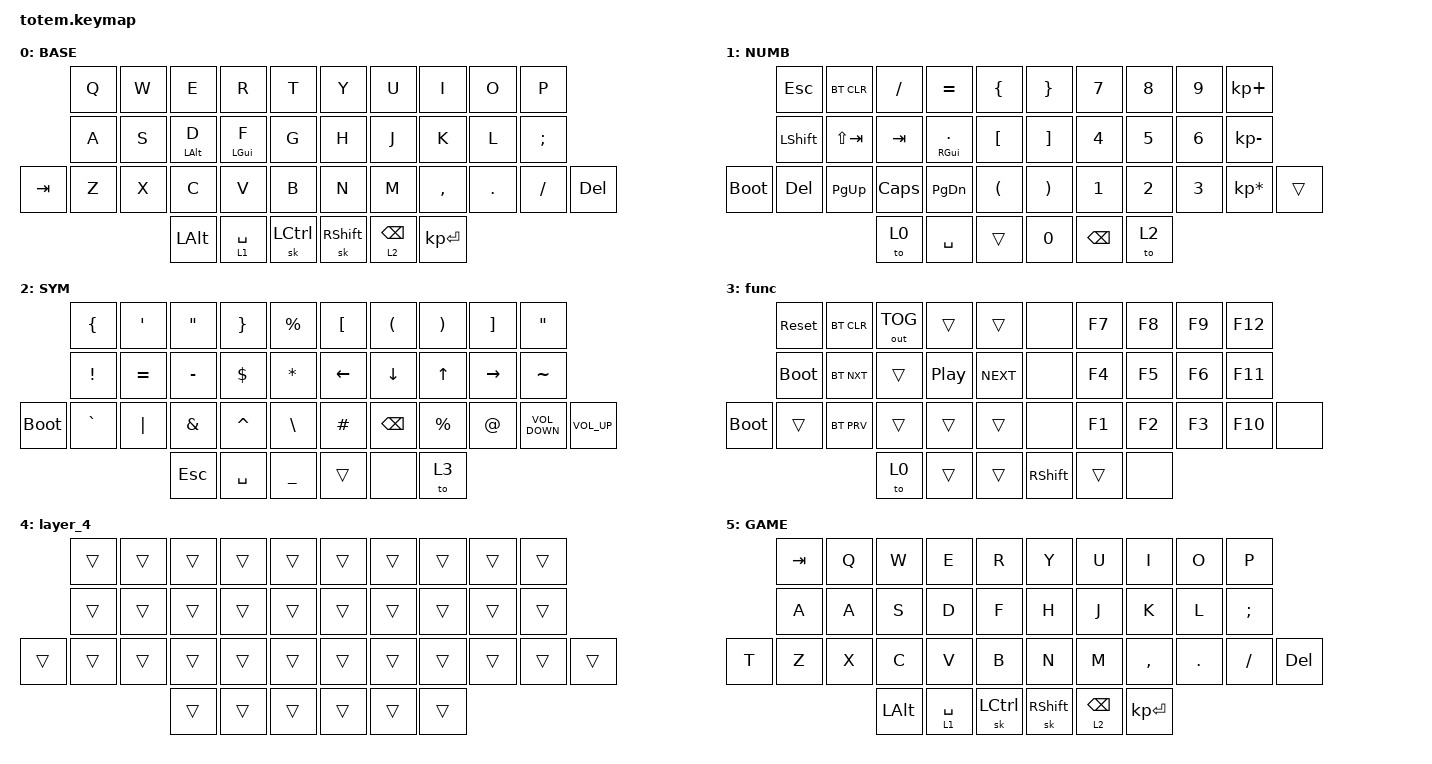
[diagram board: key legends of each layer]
//
//                                                        ▀▀▀▀▀     ▀▀▀▀▀          ▀▀█▀▀
//                                                        ▄▀▀▀▄  ▄  ▄▀▀▀▄  ▄  ▄▀▀▀▄  █  ▄▀▀▀▄
//                                                        █   █  █  █   █  █  █   █  █  █   █
//                                                         ▀▀▀   █   ▀▀▀   █   ▀▀▀   ▀   ▀▀▀
//                                                               █      ▄▄▄█▄▄▄    █   █  
//                                                               ▀      █  █  █     █▄█
//                                                             ▀▀▀▀▀    █  █  █      ▀
//                                                                      ▀  ▀  ▀
//
// ▄▄▄▄▄▄▄▄▄▄▄▄▄▄▄▄▄▄▄▄▄▄▄▄▄▄▄▄▄▄▄▄▄▄▄▄▄▄▄▄▄▄▄▄▄▄▄▄▄▄▄▄▄▄▄▄▄▄▄▄▄▄▄▄▄▄▄▄▄▄▄▄▄▄▄▄▄▄▄▄▄▄▄▄▄▄▄▄▄▄▄▄▄▄▄▄▄▄▄▄▄▄▄▄▄▄▄▄▄▄▄▄▄▄▄▄▄▄▄▄▄▄▄▄▄▄▄▄▄▄▄▄▄▄▄▄▄▄▄▄▄▄▄▄▄▄▄▄▄

#include <behaviors.dtsi>
#include <dt-bindings/zmk/bt.h>
#include <dt-bindings/zmk/keys.h>
#include <dt-bindings/zmk/outputs.h>

#define BASE 0
#define NAV  1
#define SYM  2
#define ADJ  3
#define TVP1 4
#define TVP2 5

&mt {
    quick-tap-ms = <100>;
    global-quick-tap;
    flavor = "tap-preferred";
    tapping-term-ms = <170>;
};

/ {
    combos {
        compatible = "zmk,combos";

        combo_end {
            timeout-ms = <50>;
            key-positions = <18 17>;
            bindings = <&kp ENTER>;
            layers = <0>;
        };

        combo_esc {
            timeout-ms = <100>;
            key-positions = <13 12>;
            bindings = <&kp ESCAPE>;
        };

        combo_tab {
            bindings = <&kp TAB>;
            key-positions = <12 11>;
        };

        combo_f5 {
            bindings = <&kp F5>;
            key-positions = <3 4>;
        };

        combo_f4 {
            bindings = <&kp F4>;
            key-positions = <5 6>;
        };

        combo_f11 {
            bindings = <&kp F11>;
            key-positions = <9 8>;
        };

        combo_f2 {
            bindings = <&kp F2>;
            key-positions = <0 1>;
        };

        combo_home {
            bindings = <&kp C_AC_HOME>;
            key-positions = <16 17>;
        };
    };

    macros {
        gif: gif {
            label = "giphy";
            compatible = "zmk,behavior-macro";
            #binding-cells = <0>;
            bindings =
                <&macro_press>,
                <&kp LSHFT>,
                <&macro_tap>,
                <&kp N2>,
                <&macro_release>,
                <&kp LSHFT>,
                <&macro_tap>,
                <&kp G &kp I &kp F>;
        };
    };

    keymap {
        compatible = "zmk,keymap";

        // ▄▄▄▄▄▄▄▄▄▄▄▄▄▄▄▄▄▄▄▄▄▄▄▄▄▄▄▄▄▄▄▄▄▄▄▄▄▄▄▄▄▄▄▄▄▄▄▄▄▄▄▄▄▄▄▄▄▄▄▄▄▄▄▄▄▄▄▄▄▄▄▄▄▄▄▄▄▄▄▄▄▄▄▄▄▄▄▄▄▄▄▄▄▄▄▄▄▄▄▄▄▄▄▄▄▄▄▄▄▄▄▄▄▄▄▄▄▄▄▄▄▄▄▄▄▄▄▄▄▄▄▄▄▄▄▄▄▄▄▄▄▄▄▄▄▄▄▄▄

        base_layer {
            // ┏━━━━━━━━━━━━━━━━━━━━━━━━━━━━━━━━━━━━━━━┓

            label = "BASE";

            // ┗━━━━━━━━━━━━━━━━━━━━━━━━━━━━━━━━━━━━━━━┛
            //             ┏━━━━━━━━━━━┳━━━━━━━━━━━┳━━━━━━━━━━━┳━━━━━━━━━━━┳━━━━━━━━━━━┓   ┏━━━━━━━━━━━┳━━━━━━━━━━━┳━━━━━━━━━━━┳━━━━━━━━━━━┳━━━━━━━━━━━┓
            //             ┃     Q     ┃     W     ┃     F     ┃     P     ┃     G     ┃   ┃     J     ┃     L     ┃     U     ┃     Y     ┃     ;     ┃
            //             ┣━━━━━━━━━━━╋━━━━━━━━━━━╋━━━━━━━━━━━╋━━━━━━━━━━━╋━━━━━━━━━━━┫   ┣━━━━━━━━━━━╋━━━━━━━━━━━╋━━━━━━━━━━━╋━━━━━━━━━━━╋━━━━━━━━━━━┫
            //             ┃     A     ┃     R     ┃     S     ┃     T     ┃     D     ┃   ┃     H     ┃     N     ┃     E     ┃     I     ┃     O     ┃
            // ┏━━━━━━━━━━━╋━━━━━━━━━━━╋━━━━━━━━━━━╋━━━━━━━━━━━╋━━━━━━━━━━━╋━━━━━━━━━━━┫   ┣━━━━━━━━━━━╋━━━━━━━━━━━╋━━━━━━━━━━━╋━━━━━━━━━━━╋━━━━━━━━━━━╋━━━━━━━━━━━┓
            // ┃     Q     ┃     Z     ┃     X     ┃     C     ┃     V     ┃     B     ┃   ┃     K     ┃     M     ┃     ,     ┃     .     ┃     /     ┃     \     ┃
            // ┗━━━━━━━━━━━┻━━━━━━━━━━━┻━━━━━━━━━━━╋━━━━━━━━━━━╋━━━━━━━━━━━╋━━━━━━━━━━━┫   ┣━━━━━━━━━━━╋━━━━━━━━━━━╋━━━━━━━━━━━╋━━━━━━━━━━━┻━━━━━━━━━━━┻━━━━━━━━━━━┛
            //                                     ┃    DEL    ┃    TAB    ┃    SPC    ┃   ┃   ENTER   ┃           ┃   BSPC    ┃
            //                                     ┗━━━━━━━━━━━┻━━━━━━━━━━━┻━━━━━━━━━━━┛   ┗━━━━━━━━━━━┻━━━━━━━━━━━┻━━━━━━━━━━━┛

            bindings = <
         &kp Q  &kp W  &kp E           &kp R        &kp T        &kp Y            &kp U            &kp I         &kp O    &kp P
         &kp A  &kp S  &mt LEFT_ALT D  &mt LGUI F   &kp G        &kp H            &kp J            &kp K         &kp L    &kp SEMICOLON
&kp TAB  &kp Z  &kp X  &kp C           &kp V        &kp B        &kp N            &kp M            &kp COMMA     &kp DOT  &kp FSLH       &kp DELETE
                       &kp LALT        &lt 1 SPACE  &sk LCTRL    &sk RIGHT_SHIFT  &lt 2 BACKSPACE  &kp KP_ENTER
            >;
        };

        // ▄▄▄▄▄▄▄▄▄▄▄▄▄▄▄▄▄▄▄▄▄▄▄▄▄▄▄▄▄▄▄▄▄▄▄▄▄▄▄▄▄▄▄▄▄▄▄▄▄▄▄▄▄▄▄▄▄▄▄▄▄▄▄▄▄▄▄▄▄▄▄▄▄▄▄▄▄▄▄▄▄▄▄▄▄▄▄▄▄▄▄▄▄▄▄▄▄▄▄▄▄▄▄▄▄▄▄▄▄▄▄▄▄▄▄▄▄▄▄▄▄▄▄▄▄▄▄▄▄▄▄▄▄▄▄▄▄▄▄▄▄▄▄▄▄▄▄▄▄

        num_layer {
            // ┏━━━━━━━━━━━━━━━━━━━━━━━━━━━━━━━━━━━━━━━┓

            label = "NUMB";

            // ┗━━━━━━━━━━━━━━━━━━━━━━━━━━━━━━━━━━━━━━━┛
            //             ┏━━━━━━━━━━━┳━━━━━━━━━━━┳━━━━━━━━━━━┳━━━━━━━━━━━┳━━━━━━━━━━━┓   ┏━━━━━━━━━━━┳━━━━━━━━━━━┳━━━━━━━━━━━┳━━━━━━━━━━━┳━━━━━━━━━━━┓
            //             ┃           ┃           ┃     UP    ┃           ┃     {     ┃   ┃     }     ┃     7     ┃     8     ┃     9     ┃     +     ┃
            //             ┣━━━━━━━━━━━╋━━━━━━━━━━━╋━━━━━━━━━━━╋━━━━━━━━━━━╋━━━━━━━━━━━┫   ┣━━━━━━━━━━━╋━━━━━━━━━━━╋━━━━━━━━━━━╋━━━━━━━━━━━╋━━━━━━━━━━━┫
            //             ┃   SHIFT   ┃   LEFT    ┃    DOWN   ┃   RIGHT   ┃     [     ┃   ┃     ]     ┃     4     ┃     5     ┃     6     ┃     -     ┃
            // ┏━━━━━━━━━━━╋━━━━━━━━━━━╋━━━━━━━━━━━╋━━━━━━━━━━━╋━━━━━━━━━━━╋━━━━━━━━━━━┫   ┣━━━━━━━━━━━╋━━━━━━━━━━━╋━━━━━━━━━━━╋━━━━━━━━━━━╋━━━━━━━━━━━╋━━━━━━━━━━━┓
            // ┃           ┃           ┃   P UP    ┃  C LOCK   ┃  P DOWN   ┃     (     ┃   ┃     )     ┃     1     ┃     2     ┃     3     ┃     *     ┃           ┃
            // ┗━━━━━━━━━━━┻━━━━━━━━━━━┻━━━━━━━━━━━╋━━━━━━━━━━━╋━━━━━━━━━━━╋━━━━━━━━━━━┫   ┣━━━━━━━━━━━╋━━━━━━━━━━━╋━━━━━━━━━━━╋━━━━━━━━━━━┻━━━━━━━━━━━┻━━━━━━━━━━━┛
            //                                     ┃           ┃    TAB    ┃    SPC    ┃   ┃    DEL    ┃     0     ┃           ┃
            //                                     ┗━━━━━━━━━━━┻━━━━━━━━━━━┻━━━━━━━━━━━┛   ┗━━━━━━━━━━━┻━━━━━━━━━━━┻━━━━━━━━━━━┛

            bindings = <
             &kp ESC    &bt BT_CLR   &kp SLASH  &kp EQUAL             &kp LBRC    &kp RBRC  &kp N7         &kp N8        &kp N9        &kp KP_PLUS
             &kp LSHFT  &kp LS(TAB)  &kp TAB    &mt RIGHT_GUI PERIOD  &kp LBKT    &kp RBKT  &kp NUMBER_4   &kp N5        &kp NUMBER_6  &kp KP_MINUS
&bootloader  &kp DEL    &kp PG_UP    &kp CAPS   &kp PG_DN             &kp LPAR    &kp RPAR  &kp NUMBER_1   &kp NUMBER_2  &kp NUMBER_3  &kp KP_MULTIPLY  &trans
                                     &to 0      &kp SPACE             &trans      &kp N0    &kp BACKSPACE  &to 2
            >;
        };

        // ▄▄▄▄▄▄▄▄▄▄▄▄▄▄▄▄▄▄▄▄▄▄▄▄▄▄▄▄▄▄▄▄▄▄▄▄▄▄▄▄▄▄▄▄▄▄▄▄▄▄▄▄▄▄▄▄▄▄▄▄▄▄▄▄▄▄▄▄▄▄▄▄▄▄▄▄▄▄▄▄▄▄▄▄▄▄▄▄▄▄▄▄▄▄▄▄▄▄▄▄▄▄▄▄▄▄▄▄▄▄▄▄▄▄▄▄▄▄▄▄▄▄▄▄▄▄▄▄▄▄▄▄▄▄▄▄▄▄▄▄▄▄▄▄▄▄▄▄▄

        sim_layer {
            // ┏━━━━━━━━━━━━━━━━━━━━━━━━━━━━━━━━━━━━━━━┓

            label = "SYM";

            // ┗━━━━━━━━━━━━━━━━━━━━━━━━━━━━━━━━━━━━━━━┛
            //             ┏━━━━━━━━━━━┳━━━━━━━━━━━┳━━━━━━━━━━━┳━━━━━━━━━━━┳━━━━━━━━━━━┓   ┏━━━━━━━━━━━┳━━━━━━━━━━━┳━━━━━━━━━━━┳━━━━━━━━━━━┳━━━━━━━━━━━┓
            //             ┃     !     ┃     @     ┃     #     ┃     $     ┃     %     ┃   ┃     ˆ     ┃     &     ┃     Ü     ┃     '     ┃     "     ┃
            //             ┣━━━━━━━━━━━╋━━━━━━━━━━━╋━━━━━━━━━━━╋━━━━━━━━━━━╋━━━━━━━━━━━┫   ┣━━━━━━━━━━━╋━━━━━━━━━━━╋━━━━━━━━━━━╋━━━━━━━━━━━╋━━━━━━━━━━━┫
            //             ┃     Ä     ┃           ┃    SZ     ┃           ┃           ┃   ┃   MUTE    ┃   YEN     ┃   EURO    ┃  POUND    ┃     Ö     ┃
            // ┏━━━━━━━━━━━╋━━━━━━━━━━━╋━━━━━━━━━━━╋━━━━━━━━━━━╋━━━━━━━━━━━╋━━━━━━━━━━━┫   ┣━━━━━━━━━━━╋━━━━━━━━━━━╋━━━━━━━━━━━╋━━━━━━━━━━━╋━━━━━━━━━━━╋━━━━━━━━━━━┓
            // ┃           ┃  EMAIL1   ┃  EMAIL2   ┃           ┃           ┃           ┃   ┃   VOL-    ┃   VOL+    ┃   LAST    ┃   NEXT    ┃     \     ┃           ┃
            // ┗━━━━━━━━━━━┻━━━━━━━━━━━┻━━━━━━━━━━━╋━━━━━━━━━━━╋━━━━━━━━━━━╋━━━━━━━━━━━┫   ┣━━━━━━━━━━━╋━━━━━━━━━━━╋━━━━━━━━━━━╋━━━━━━━━━━━┻━━━━━━━━━━━┻━━━━━━━━━━━┛
            //                                     ┃           ┃    GIF    ┃    ADJ    ┃   ┃           ┃           ┃           ┃
            //                                     ┗━━━━━━━━━━━┻━━━━━━━━━━━┻━━━━━━━━━━━┛   ┗━━━━━━━━━━━┻━━━━━━━━━━━┻━━━━━━━━━━━┛

            bindings = <
             &kp LBRC   &kp SQT    &kp DOUBLE_QUOTES  &kp RIGHT_BRACE  &kp PRCNT        &kp LBKT  &kp LPAR       &kp RIGHT_PARENTHESIS  &kp RIGHT_BRACKET  &kp DQT
             &kp EXCL   &kp EQUAL  &kp MINUS          &kp DLLR         &kp ASTRK        &kp LEFT  &kp DOWN       &kp UP_ARROW           &kp RIGHT          &kp TILDE
&bootloader  &kp GRAVE  &kp PIPE   &kp AMPERSAND      &kp CARET        &kp BACKSLASH    &kp HASH  &kp BACKSPACE  &kp PERCENT            &kp AT             &kp C_VOLUME_DOWN  &kp C_VOL_UP
                                   &kp ESCAPE         &kp SPACE        &kp UNDER        &trans    &none          &to 3
            >;
        };

        // ▄▄▄▄▄▄▄▄▄▄▄▄▄▄▄▄▄▄▄▄▄▄▄▄▄▄▄▄▄▄▄▄▄▄▄▄▄▄▄▄▄▄▄▄▄▄▄▄▄▄▄▄▄▄▄▄▄▄▄▄▄▄▄▄▄▄▄▄▄▄▄▄▄▄▄▄▄▄▄▄▄▄▄▄▄▄▄▄▄▄▄▄▄▄▄▄▄▄▄▄▄▄▄▄▄▄▄▄▄▄▄▄▄▄▄▄▄▄▄▄▄▄▄▄▄▄▄▄▄▄▄▄▄▄▄▄▄▄▄▄▄▄▄▄▄▄▄▄▄

        function_layer {
            // ┏━━━━━━━━━━━━━━━━━━━━━━━━━━━━━━━━━━━━━━━┓

            label = "func";

            // ┗━━━━━━━━━━━━━━━━━━━━━━━━━━━━━━━━━━━━━━━┛
            //             ┏━━━━━━━━━━━┳━━━━━━━━━━━┳━━━━━━━━━━━┳━━━━━━━━━━━┳━━━━━━━━━━━┓   ┏━━━━━━━━━━━┳━━━━━━━━━━━┳━━━━━━━━━━━┳━━━━━━━━━━━┳━━━━━━━━━━━┓
            //             ┃   RESET   ┃ BT CLEAR  ┃  OUT TOG  ┃           ┃           ┃   ┃           ┃    F7     ┃    F8     ┃    F9     ┃    F12    ┃
            //             ┣━━━━━━━━━━━╋━━━━━━━━━━━╋━━━━━━━━━━━╋━━━━━━━━━━━╋━━━━━━━━━━━┫   ┣━━━━━━━━━━━╋━━━━━━━━━━━╋━━━━━━━━━━━╋━━━━━━━━━━━╋━━━━━━━━━━━┫
            //             ┃ BOOTLOAD  ┃ BT NEXT   ┃           ┃           ┃           ┃   ┃           ┃    F4     ┃    F5     ┃    F6     ┃    F11    ┃
            // ┏━━━━━━━━━━━╋━━━━━━━━━━━╋━━━━━━━━━━━╋━━━━━━━━━━━╋━━━━━━━━━━━╋━━━━━━━━━━━┫   ┣━━━━━━━━━━━╋━━━━━━━━━━━╋━━━━━━━━━━━╋━━━━━━━━━━━╋━━━━━━━━━━━╋━━━━━━━━━━━┓
            // ┃           ┃           ┃ BT PREV   ┃           ┃           ┃           ┃   ┃           ┃    F1     ┃    F2     ┃    F3     ┃    F10    ┃           ┃
            // ┗━━━━━━━━━━━┻━━━━━━━━━━━┻━━━━━━━━━━━╋━━━━━━━━━━━╋━━━━━━━━━━━╋━━━━━━━━━━━┫   ┣━━━━━━━━━━━╋━━━━━━━━━━━╋━━━━━━━━━━━╋━━━━━━━━━━━┻━━━━━━━━━━━┻━━━━━━━━━━━┛
            //                                     ┃           ┃           ┃           ┃   ┃           ┃           ┃           ┃
            //                                     ┗━━━━━━━━━━━┻━━━━━━━━━━━┻━━━━━━━━━━━┛   ┗━━━━━━━━━━━┻━━━━━━━━━━━┻━━━━━━━━━━━┛

            bindings = <
             &sys_reset   &bt BT_CLR  &out OUT_TOG  &trans            &trans        &none      &kp F7  &kp F8  &kp F9  &kp F12
             &bootloader  &bt BT_NXT  &trans        &kp C_PLAY_PAUSE  &kp C_NEXT    &none      &kp F4  &kp F5  &kp F6  &kp F11
&bootloader  &trans       &bt BT_PRV  &trans        &trans            &trans        &none      &kp F1  &kp F2  &kp F3  &kp F10  &none
                                      &to 0         &trans            &trans        &kp RSHFT  &trans  &none
            >;
        };

        layer_4 {
            bindings = <
        &trans  &trans  &trans  &trans  &trans    &trans  &trans  &trans  &trans  &trans
        &trans  &trans  &trans  &trans  &trans    &trans  &trans  &trans  &trans  &trans
&trans  &trans  &trans  &trans  &trans  &trans    &trans  &trans  &trans  &trans  &trans  &trans
                        &trans  &trans  &trans    &trans  &trans  &trans
            >;
        };

        game {
            label = "GAME";
            bindings = <
       &kp TAB  &kp Q  &kp W     &kp E        &kp R        &kp Y            &kp U            &kp I         &kp O    &kp P
       &kp A    &kp A  &kp S     &kp D        &kp F        &kp H            &kp J            &kp K         &kp L    &kp SEMICOLON
&kp T  &kp Z    &kp X  &kp C     &kp V        &kp B        &kp N            &kp M            &kp COMMA     &kp DOT  &kp FSLH       &kp DELETE
                       &kp LALT  &lt 1 SPACE  &sk LCTRL    &sk RIGHT_SHIFT  &lt 2 BACKSPACE  &kp KP_ENTER
            >;
        };

        // ▄▄▄▄▄▄▄▄▄▄▄▄▄▄▄▄▄▄▄▄▄▄▄▄▄▄▄▄▄▄▄▄▄▄▄▄▄▄▄▄▄▄▄▄▄▄▄▄▄▄▄▄▄▄▄▄▄▄▄▄▄▄▄▄▄▄▄▄▄▄▄▄▄▄▄▄▄▄▄▄▄▄▄▄▄▄▄▄▄▄▄▄▄▄▄▄▄▄▄▄▄▄▄▄▄▄▄▄▄▄▄▄▄▄▄▄▄▄▄▄▄▄▄▄▄▄▄▄▄▄▄▄▄▄▄▄▄▄▄▄▄▄▄▄▄▄▄▄▄
        // ▄▄▄▄▄▄▄▄▄▄▄▄▄▄▄▄▄▄▄▄▄▄▄▄▄▄▄▄▄▄▄▄▄▄▄▄▄▄▄▄▄▄▄▄▄▄▄▄▄▄▄▄▄▄▄▄▄▄▄▄▄▄▄▄▄▄▄▄▄▄▄▄▄▄▄▄▄▄▄▄▄▄▄▄▄▄▄▄▄▄▄▄▄▄▄▄▄▄▄▄▄▄▄▄▄▄▄▄▄▄▄▄▄▄▄▄▄▄▄▄▄▄▄▄▄▄▄▄▄▄▄▄▄▄▄▄▄▄▄▄▄▄▄▄▄▄▄▄▄
    };
};
